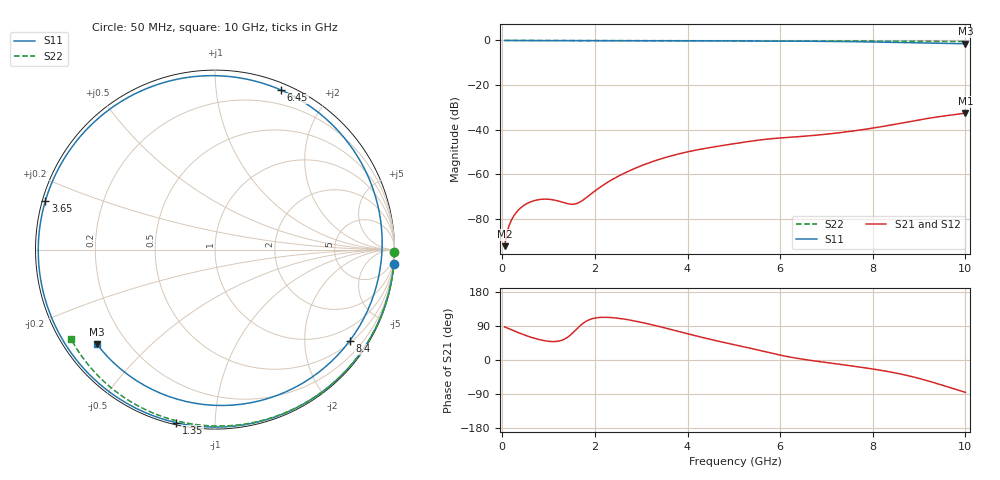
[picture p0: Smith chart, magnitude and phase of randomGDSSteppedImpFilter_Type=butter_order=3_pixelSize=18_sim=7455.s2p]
! freq	dB(S11)	phase(S11)	dB(S12)	phase(S12)
!  dB(S21)	phase(S21)	dB(S22)	phase(S22)
!S-par simulation data
#  GHz  S  DB  R 50
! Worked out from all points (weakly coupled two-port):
!   200 points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, 50 MHz to 10 GHz, reference 50 ohm
!   highest |S21| = -32.62 dB at 10 GHz (marker M1); lowest = -92.3 dB at 50 MHz (marker M2)
!   lowest |S11| = -1.5 dB at 10 GHz (marker M3), VSWR 11.74, Z = 4.78 - j17.4 ohm
!   |S11| at or under -10 dB: nowhere
!   |S22| runs from -0.5 to 0.0 dB; largest |S21 - S12| = 0
!   S11 on the Smith chart (normalised r, x): 50 MHz: 0, -26; 1.35 GHz: 0.01, -0.80; 3.65 GHz: 0.01, +0.14; 6.45 GHz: 0.06, +1.50; 8.4 GHz: 0.55, -3.16; 10 GHz: 0.10, -0.35
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0.05  -0.00 -4.5  -92.34 87.4  -92.34 87.4  -0.00 -0.9
0.2  -0.02 -17.7  -80.51 79.6  -80.51 79.6  -0.00 -3.5
0.4  -0.04 -34.9  -75.09 69.7  -75.09 69.7  -0.01 -6.9
0.7  -0.07 -59.0  -71.85 57.1  -71.85 57.1  -0.01 -12.0
1  -0.09 -80.6  -71.28 49.3  -71.28 49.3  -0.02 -17.1
1.35  -0.10 -102.6  -72.92 55.5  -72.92 55.5  -0.03 -23.0
1.75  -0.11 -123.9  -71.56 97.5  -71.56 97.5  -0.04 -29.7
2.5  -0.12 -156.3  -60.99 110.2  -60.99 110.2  -0.05 -42.0
3.4  -0.14 172.1  -53.31 88.0  -53.31 88.0  -0.07 -56.4
3.65  -0.15 164.0  -51.79 80.3  -51.79 80.3  -0.08 -60.3
5.05  -0.21 119.1  -46.20 39.3  -46.20 39.3  -0.12 -81.3
5.8  -0.27 93.0  -44.12 18.3  -44.12 18.3  -0.16 -92.1
6.45  -0.34 67.5  -43.10 2.9  -43.10 2.9  -0.19 -101.1
6.7  -0.37 56.8  -42.67 -1.7  -42.67 -1.7  -0.20 -104.6
7.6  -0.55 12.7  -40.56 -16.6  -40.56 -16.6  -0.26 -116.7
8  -0.69 -9.9  -39.33 -23.8  -39.33 -23.8  -0.29 -122.0
8.35  -0.83 -31.1  -38.12 -31.0  -38.12 -31.0  -0.32 -126.6
8.4  -0.85 -34.2  -37.94 -32.1  -37.94 -32.1  -0.33 -127.3
8.8  -1.03 -60.1  -36.42 -42.4  -36.42 -42.4  -0.37 -132.5
9.2  -1.21 -87.0  -34.95 -55.4  -34.95 -55.4  -0.41 -137.7
9.6  -1.37 -114.3  -33.72 -70.3  -33.72 -70.3  -0.45 -143.0
10  -1.48 -141.4  -32.62 -85.4  -32.62 -85.4  -0.50 -148.2
